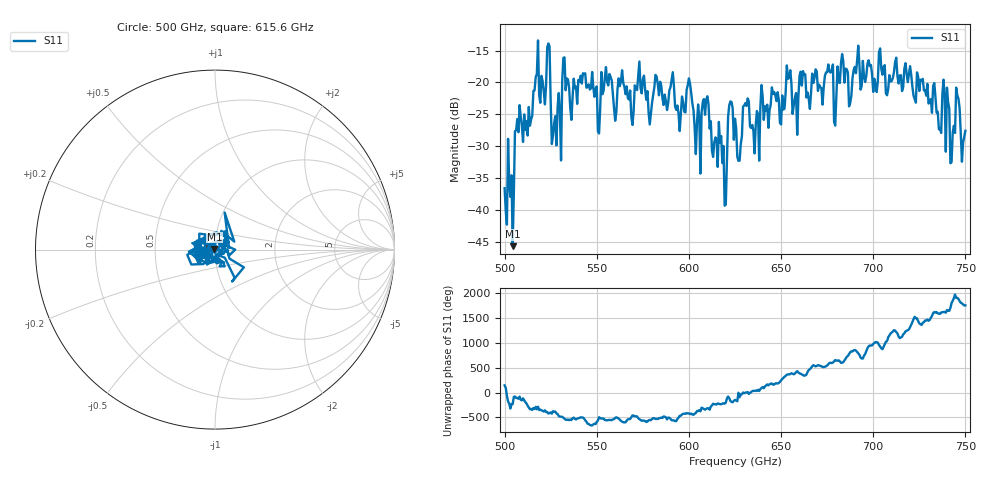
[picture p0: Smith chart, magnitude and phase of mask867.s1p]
!Created with skrf (http://scikit-rf.org).
# GHz S MA R 50.0
!freq magS11 angS11
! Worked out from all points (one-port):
!   401 points, 500 GHz to 750 GHz, reference 50 ohm
!   lowest |S11| = -45.7 dB at 504.4 GHz (marker M1), VSWR 1.01, Z = 49.7 + j0.413 ohm
!   |S11| at or under -10 dB: start of sweep to end of sweep
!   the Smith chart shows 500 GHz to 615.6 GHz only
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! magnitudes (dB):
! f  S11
! 500 GHz  -36.6
! 504.4 GHz  -45.7
! 506.9 GHz  -25.8
! 513.8 GHz  -26.8
! 516.9 GHz  -19.2
! 523.8 GHz  -13.9
! 526.9 GHz  -26.4
! 531.2 GHz  -19.8
! 562.5 GHz  -20.6
! 579.4 GHz  -24.9
! 590.6 GHz  -19.6
! 593.8 GHz  -23.6
! 600 GHz  -19.4
! 605 GHz  -23.5
! 609.4 GHz  -22.7
! 619.4 GHz  -39.3
! 622.5 GHz  -23.0
! 625 GHz  -25.7
! 627.5 GHz  -32.3
! 630.6 GHz  -23.2
! 656.2 GHz  -24.9
! 676.9 GHz  -18.5
! 680 GHz  -22.2
! 683.8 GHz  -16.7
! 687.5 GHz  -23.2
! 691.2 GHz  -16.6
! 718.8 GHz  -20.0
! 750 GHz  -27.6
